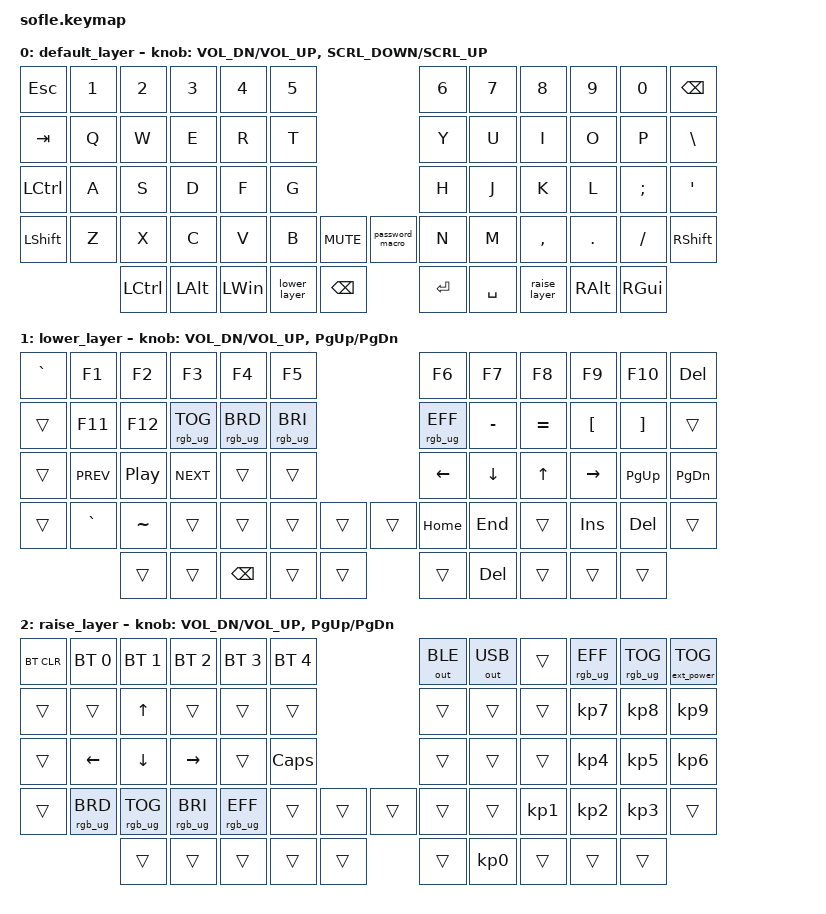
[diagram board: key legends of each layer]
/*
 * Copyright (c) 2020 The ZMK Contributors
 *
 * SPDX-License-Identifier: MIT
 */

#include <behaviors.dtsi>
#include <dt-bindings/zmk/bt.h>
#include <dt-bindings/zmk/ext_power.h>
#include <dt-bindings/zmk/keys.h>
#include <dt-bindings/zmk/outputs.h>
#include <dt-bindings/zmk/rgb.h>

// Configure scroll speed before including pointing header (default: 10, higher = faster)
#define ZMK_POINTING_DEFAULT_SCRL_VAL 80
#include <dt-bindings/zmk/pointing.h>

/ {
    behaviors {
        scroll_encoder: scroll_encoder {
            compatible = "zmk,behavior-sensor-rotate-var";
            #sensor-binding-cells = <2>;
            bindings = <&msc>, <&msc>;
        };

        password_macro: password_macro {
            compatible = "zmk,behavior-macro";
            #binding-cells = <0>;
            bindings = <&macro_press &kp LGUI &kp LSHFT>
                     , <&macro_tap &kp BSLH>
                     , <&macro_release &kp LGUI &kp LSHFT>;
        };

        // Layer indicator macro for LOWER layer (bright green)
        lower_layer: lower_layer {
            compatible = "zmk,behavior-macro";
            #binding-cells = <0>;
            bindings = <&macro_press &mo 1>
                     , <&macro_tap &rgb_ug RGB_COLOR_HSB(120,100,100)>
                     , <&macro_pause_for_release>
                     , <&macro_release &mo 1>
                     , <&macro_tap &rgb_ug RGB_COLOR_HSB(0,100,30)>;
        };

        // Layer indicator macro for RAISE layer (bright blue)
        raise_layer: raise_layer {
            compatible = "zmk,behavior-macro";
            #binding-cells = <0>;
            bindings = <&macro_press &mo 2>
                     , <&macro_tap &rgb_ug RGB_COLOR_HSB(240,100,100)>
                     , <&macro_pause_for_release>
                     , <&macro_release &mo 2>
                     , <&macro_tap &rgb_ug RGB_COLOR_HSB(0,100,30)>;
        };
    };

    keymap {
        compatible = "zmk,keymap";

        default_layer {
            // Anne Pro 2 "Mac.GC" equivalent base layer.
            // Top-right corner = Backspace and the key below it = backslash, matching the
            // Anne's rightmost column. Ctrl sits on the Caps position, as on the Anne.
            //
            // Backspace and Space take the two forward thumb keys, one per hand, so the
            // type/backspace/retype cycle alternates thumbs. Enter moves to the right thumb
            // where the Anne trained it, pushing RAISE onto the grid key it vacates (RAISE
            // only carries Bluetooth and the numpad, so the longer reach is cheap). Right
            // Ctrl is dropped as redundant. The top-right Backspace is kept during the
            // transition so the old pinky habit still works; make it DEL once it fades.
            // ------------------------------------------------------------------------------------------------------------
            // |  ESC  |  1  |  2  |  3   |  4   |  5   |                   |  6   |  7    |  8    |  9   |   0   | BKSPC |
            // |  TAB  |  Q  |  W  |  E   |  R   |  T   |                   |  Y   |  U    |  I    |  O   |   P   |   \   |
            // | CTRL  |  A  |  S  |  D   |  F   |  G   |                   |  H   |  J    |  K    |  L   |   ;   |   '   |
            // | SHIFT |  Z  |  X  |  C   |  V   |  B   |  MUTE  |  | PASS  |  N   |  M    |  ,    |  .   |   /   | SHIFT |
            //               | CTRL | ALT | CMD  | LOWER| BKSPC  |  | ENTER | SPACE| RAISE | ALT   | GUI  |

            bindings = <
&kp ESC           &kp N1  &kp N2            &kp N3    &kp N4        &kp N5                           &kp N6  &kp N7     &kp N8     &kp N9    &kp N0    &kp BSPC
&kp TAB           &kp Q   &kp W             &kp E     &kp R         &kp T                            &kp Y   &kp U      &kp I      &kp O     &kp P     &kp BSLH
&kp LEFT_CONTROL  &kp A   &kp S             &kp D     &kp F         &kp G                            &kp H   &kp J      &kp K      &kp L     &kp SEMI  &kp SQT
&kp LSHFT         &kp Z   &kp X             &kp C     &kp V         &kp B   &kp C_MUTE    &password_macro      &kp N   &kp M      &kp COMMA  &kp DOT   &kp FSLH  &kp RSHFT
                          &kp LEFT_CONTROL  &kp LALT  &kp LEFT_WIN  &lower_layer   &kp BSPC      &kp RET    &kp SPACE      &raise_layer  &kp RALT   &kp RGUI
            >;

            sensor-bindings =
                <&inc_dec_kp C_VOL_DN C_VOL_UP>,
                <&scroll_encoder SCRL_DOWN SCRL_UP>;
        };

        lower_layer {
            // Anne Pro 2 "Mac.GC" Fn1 layer: ` on Esc, F-keys over the numbers, Del on the
            // Backspace corner, HJKL arrows, PgUp/PgDn on ;/', media on A/S/D (Prev/Play/Next —
            // Anne order), backtick/tilde on Z/X (volume lives on the left encoder), Ins/Del
            // on ./ and Bksp-on-Cmd.
            // The Anne's physical - = [ ] keys don't exist on the Sofle, so they live here on U I O P.
            // ------------------------------------------------------------------------------------------------------------
            // |   `   | F1  | F2  |  F3  |  F4  |  F5  |                   |  F6  |  F7   |  F8   |  F9  |  F10  |  DEL  |
            // |       | F11 | F12 | RGBt | RGBd | RGBu |                   | RGBe |   -   |   =   |  [   |   ]   |       |
            // |       | PRV | PLY | NXT  |      |      |                   |  <-  |   v   |   ^   |  ->  | PGUP  | PGDN  |
            // |       |  `  |  ~  |      |      |      |        |  |       | HOME |  END  |       | INS  |  DEL  |       |
            //               |     |      | BKSP |(held)|        |  |       |  DEL |       |      |

            bindings = <
&kp GRAVE  &kp F1        &kp F2            &kp F3           &kp F4           &kp F5                            &kp F6           &kp F7     &kp F8     &kp F9     &kp F10    &kp DEL
&trans     &kp F11       &kp F12           &rgb_ug RGB_TOG  &rgb_ug RGB_BRD  &rgb_ug RGB_BRI                   &rgb_ug RGB_EFF  &kp MINUS  &kp EQUAL  &kp LBKT   &kp RBKT   &trans
&trans     &kp C_PREV    &kp C_PLAY_PAUSE  &kp C_NEXT       &trans           &trans                            &kp LEFT         &kp DOWN   &kp UP     &kp RIGHT  &kp PG_UP  &kp PG_DN
&trans     &kp GRAVE     &kp TILDE         &trans           &trans           &trans           &trans    &trans  &kp HOME         &kp END    &trans     &kp INS    &kp DEL    &trans
                         &trans            &trans           &kp BSPC         &trans           &trans    &trans   &kp DEL          &trans     &trans     &trans
            >;

            sensor-bindings = <&inc_dec_kp C_VOL_DN C_VOL_UP &inc_dec_kp PG_UP PG_DN>;
        };

        raise_layer {
            // Anne Pro 2 "Mac.GC" Fn2 layer: BT devices on 1-5, WASD-style arrows on the left
            // hand, right-hand numpad (789 / 456 / 123 on O P [ rows, 0 on Space), Caps on G,
            // RGB cluster on Z-V kept from the previous Sofle layout, USB/BLE output toggles.
            // ------------------------------------------------------------------------------------------------------------
            // |BTCLR| BT1  | BT2  |  BT3  |  BT4  |  BT5 |                |  BLE |  USB |       | RGBe | RGBt  |EP_TOG |
            // |     |      |  ^   |       |       |      |                |      |      |       | KP7  |  KP8  |  KP9  |
            // |     |  <-  |  v   |  ->   |       | CAPS |                |      |      |       | KP4  |  KP5  |  KP6  |
            // |     | RGBd | RGBt | RGBu  | RGBe  |      |      |  |      |      |      |  KP1  | KP2  |  KP3  |       |
            //              |      |       |       |      |      |  |  KP0 |      |      |       |      |
            bindings = <
&bt BT_CLR  &bt BT_SEL 0     &bt BT_SEL 1     &bt BT_SEL 2     &bt BT_SEL 3     &bt BT_SEL 4                    &out OUT_BLE  &out OUT_USB  &trans     &rgb_ug RGB_EFF  &rgb_ug RGB_TOG  &ext_power EP_TOG
&trans      &trans           &kp UP           &trans           &trans           &trans                          &trans        &trans        &trans     &kp KP_N7        &kp KP_N8        &kp KP_N9
&trans      &kp LEFT         &kp DOWN         &kp RIGHT        &trans           &kp CLCK                        &trans        &trans        &trans     &kp KP_N4        &kp KP_N5        &kp KP_N6
&trans      &rgb_ug RGB_BRD  &rgb_ug RGB_TOG  &rgb_ug RGB_BRI  &rgb_ug RGB_EFF  &trans        &trans    &trans  &trans        &trans        &kp KP_N1  &kp KP_N2        &kp KP_N3        &trans
                             &trans           &trans           &trans           &trans        &trans    &trans     &kp KP_N0  &trans        &trans     &trans
            >;

            sensor-bindings = <&inc_dec_kp C_VOL_DN C_VOL_UP &inc_dec_kp PG_UP PG_DN>;
        };
    };
};
